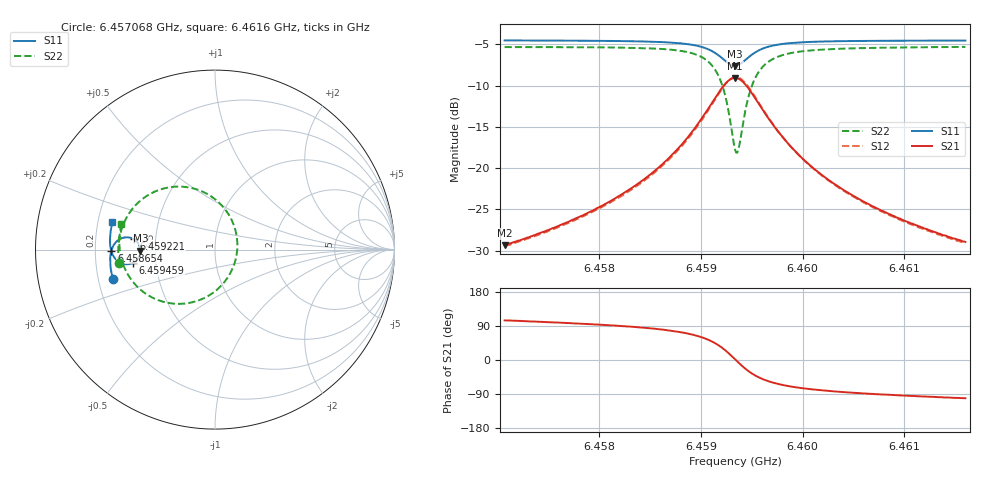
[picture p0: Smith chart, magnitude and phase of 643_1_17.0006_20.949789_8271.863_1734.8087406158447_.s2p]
#  HZ  S  RI  R  50.00
! Rohde & Schwarz Vector Network Analyzer
! Rohde-Schwarz,ZNB20-2Port,1311601062101988,3.16
! Created: UTC 3/20/2024, 11:20:55 PM
! freq[Hz]  re:S11  im:S11  re:S21  im:S21  re:S12  im:S12  re:S22  im:S22
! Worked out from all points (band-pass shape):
!   401 points, 6.457068 GHz to 6.4616 GHz, reference 50 ohm
!   highest |S21| = -9.08 dB at 6.459334 GHz (marker M1); lowest = -29.3 dB at 6.457068 GHz (marker M2)
!   |S21| within 3 dB of the highest: 6.459108 GHz to 6.459561 GHz (452.7 kHz wide, 0.00701 % of centre)
!   lowest |S11| = -7.6 dB at 6.459334 GHz (marker M3), VSWR 2.42, Z = 20.7 - j0.337 ohm
!   |S11| at or under -10 dB: nowhere
!   |S22| runs from -18.1 to -5.3 dB; largest |S21 - S12| = 0.014
!   S11 on the Smith chart (normalised r, x): 6.457068 GHz: 0.26, -0.13; 6.458654 GHz: 0.27, -0.00; 6.459221 GHz: 0.38, +0.05; 6.459459 GHz: 0.37, -0.07; 6.4616 GHz: 0.26, +0.12
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6.4570682e9  -0.5686 -0.1651  -0.00859 0.0331  -0.00687 0.033  -0.5346 -0.0764
6.4578272e9  -0.5818 -0.0983  -0.00518 0.0513  -0.00251 0.0507  -0.5386 0.0136
6.4582237e9  -0.5843 -0.0585  0.000553 0.0697  0.00383 0.0681  -0.5304 0.0768
6.4585862e9  -0.5798 -0.015  0.0154 0.1001  0.0195 0.0974  -0.5028 0.1591
6.4586542e9  -0.5773 -0.00541  0.0208 0.1086  0.025 0.1053  -0.4923 0.1792
6.4588468e9  -0.5644 0.0247  0.0481 0.1398  0.0522 0.1348  -0.4412 0.2488
6.458994e9  -0.5414 0.051  0.0943 0.1704  0.0974 0.1635  -0.3559 0.3131
6.45913e9  -0.4968 0.0683  0.1827 0.1866  0.1836 0.1791  -0.1938 0.3511
6.4592206e9  -0.4517 0.0576  0.2739 0.1544  0.2741 0.1487  -0.0248 0.2988
6.4592886e9  -0.4222 0.0248  0.3351 0.0812  0.3372 0.0759  0.0922 0.1665
6.4593339e9  -0.4153 -0.00676  0.3514 0.012  0.3552 0.00514  0.1246 0.0365
6.4593679e9  -0.4194 -0.0309  0.3452 -0.0414  0.3492 -0.0505  0.1123 -0.065
6.4594132e9  -0.4353 -0.0575  0.3158 -0.1023  0.3182 -0.1144  0.0526 -0.1804
6.4594585e9  -0.4577 -0.0741  0.2728 -0.1438  0.2721 -0.1574  -0.0348 -0.2564
6.4595491e9  -0.502 -0.081  0.1861 -0.175  0.1797 -0.1869  -0.2078 -0.3023
6.4596171e9  -0.5265 -0.0735  0.1368 -0.1726  0.1287 -0.1817  -0.303 -0.2862
6.4596964e9  -0.5465 -0.0603  0.0966 -0.1601  0.088 -0.1664  -0.3786 -0.2506
6.459855e9  -0.5681 -0.0324  0.0512 -0.1314  0.0435 -0.1341  -0.4599 -0.1765
6.4600929e9  -0.5809 0.00314  0.022 -0.099  0.0159 -0.0995  -0.5079 -0.0926
6.4604215e9  -0.5852 0.0428  0.00621 -0.0723  0.00195 -0.0718  -0.5288 -0.0147
6.4608519e9  -0.5832 0.0864  -0.00179 -0.0526  -0.00467 -0.0518  -0.5329 0.0559
6.4615996e9  -0.5711 0.1529  -0.00675 -0.0351  -0.00854 -0.0341  -0.5214 0.1454
